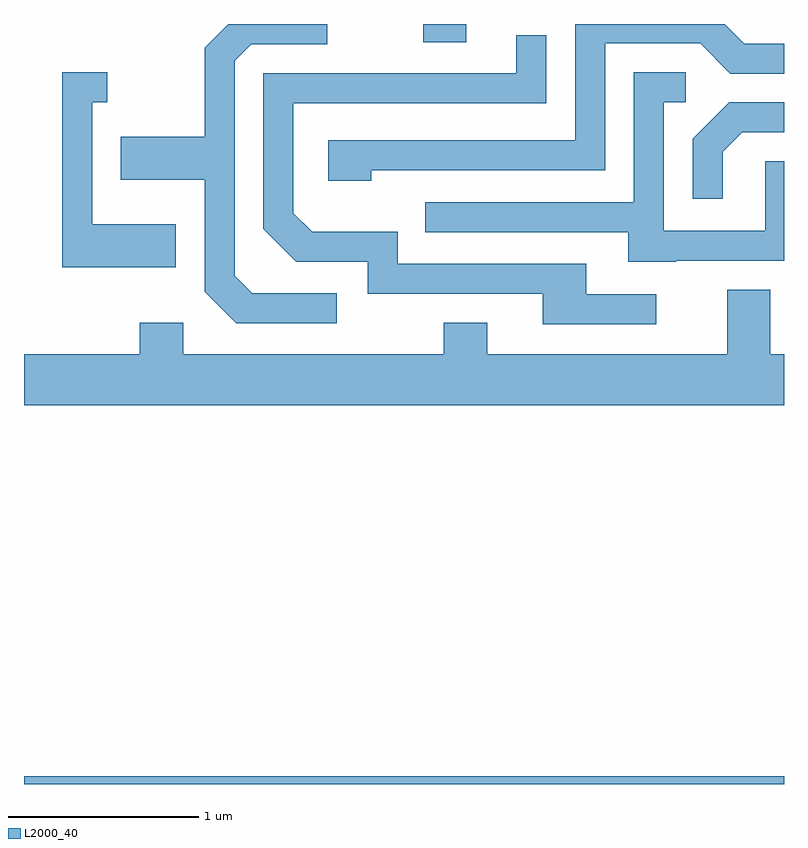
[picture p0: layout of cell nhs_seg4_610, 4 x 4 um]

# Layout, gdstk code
import gdstk
lib = gdstk.Library(unit=1e-6, precision=1e-09)
def R(c, l, rs):  # rectangles x0, y0, x1, y1
    for r in rs: c.add(gdstk.rectangle(r[:2], r[2:], *l))
def P(c, l, *ps):  # polygons
    for p in ps: c.add(gdstk.Polygon(p, *l))
L2000_40 = (2000, 40)

nhs_seg4_610 = lib.new_cell('nhs_seg4_610')
R(nhs_seg4_610, L2000_40, [(201.611,1385.982,205.611,1386.024), (203.711,1389.886,203.939,1389.982)])
P(nhs_seg4_610, L2000_40, [(203.258,1388.564),(202.812,1388.564),(202.719,1388.657),(202.719,1389.789),(202.807,1389.876),(203.208,1389.876),(203.208,1389.982),(202.687,1389.982),(202.561,1389.857),(202.561,1389.389),(202.121,1389.389),(202.121,1389.161),(202.561,1389.161),(202.561,1388.574),(202.729,1388.406),(203.258,1388.406)],
  [(203.439,1389.211),(204.669,1389.211),(204.669,1389.881),(205.169,1389.881),(205.329,1389.721),(205.611,1389.721),(205.611,1389.879),(205.402,1389.879),(205.299,1389.982),(204.511,1389.982),(204.511,1389.369),(203.211,1389.369),(203.211,1389.156),(203.439,1389.156)],
  [(204.938,1388.559),(204.569,1388.559),(204.569,1388.719),(203.579,1388.719),(203.579,1388.889),(203.127,1388.889),(203.029,1388.987),(203.029,1389.566),(204.359,1389.566),(204.359,1389.923),(204.201,1389.923),(204.201,1389.724),(202.871,1389.724),(202.871,1388.904),(203.044,1388.731),(203.421,1388.731),(203.421,1388.561),(204.341,1388.561),(204.341,1388.401),(204.938,1388.401)],
  [(205.045,1388.736),(205.611,1388.736),(205.611,1389.259),(205.511,1389.259),(205.511,1388.894),(204.979,1388.894),(204.979,1389.571),(205.093,1389.571),(205.093,1389.729),(204.821,1389.729),(204.821,1389.044),(203.723,1389.044),(203.723,1388.886),(204.791,1388.886),(204.791,1388.731),(205.045,1388.731)],
  [(202.409,1388.929),(201.969,1388.929),(201.969,1389.571),(202.048,1389.571),(202.048,1389.729),(201.811,1389.729),(201.811,1388.701),(202.409,1388.701)],
  [(205.289,1389.309),(205.392,1389.411),(205.611,1389.411),(205.611,1389.569),(205.324,1389.569),(205.131,1389.377),(205.131,1389.063),(205.289,1389.063)],
  [(205.611,1388.244),(205.539,1388.244),(205.539,1388.584),(205.311,1388.584),(205.311,1388.244),(204.049,1388.244),(204.049,1388.409),(203.821,1388.409),(203.821,1388.244),(202.449,1388.244),(202.449,1388.409),(202.221,1388.409),(202.221,1388.244),(201.611,1388.244),(201.611,1387.976),(205.611,1387.976)])

lib.write_gds('nhs_seg4_610.gds')
